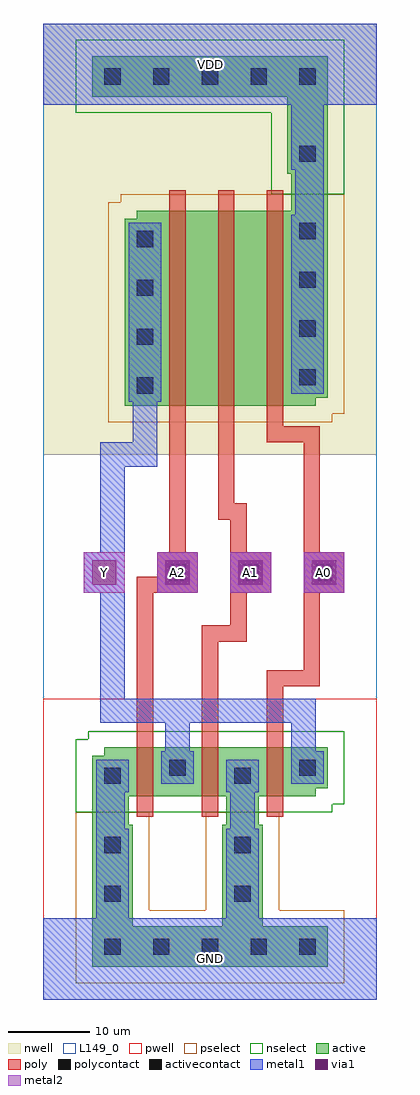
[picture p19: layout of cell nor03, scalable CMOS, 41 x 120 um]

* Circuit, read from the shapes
.subckt nor03 A0 A1 A2 GND VDD Y
M1 Y A2 GND GND nfet w=6u l=2u
M2 GND A1 Y GND nfet w=6u l=2u
M3 Y A0 GND GND nfet w=6u l=2u
M4 n1 A2 Y VDD pfet w=24u l=2u
M5 n2 A1 n1 VDD pfet w=24u l=2u
M6 VDD A0 n2 VDD pfet w=24u l=2u
.ends

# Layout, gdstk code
import gdstk
lib = gdstk.Library(unit=1e-6, precision=1e-09)
def R(c, l, rs):  # rectangles x0, y0, x1, y1
    for r in rs: c.add(gdstk.rectangle(r[:2], r[2:], *l))
def A(c, l, x, y, w, h, nx, ny, dx, dy):  # array of equal rectangles
    R(c, l, [(x+i*dx, y+j*dy, x+i*dx+w, y+j*dy+h) for i in range(nx) for j in range(ny)])
def P(c, l, *ps):  # polygons
    for p in ps: c.add(gdstk.Polygon(p, *l))
pwell = (41, 0)
nwell = (42, 0)
active = (43, 0)
pselect = (44, 0)
nselect = (45, 0)
poly = (46, 0)
polycontact = (47, 0)
activecontact = (48, 0)
metal1 = (49, 0)
via1 = (50, 0)
metal2 = (51, 0)
L149_0 = (149, 0)

via = lib.new_cell('via')
R(via, metal1, [(-2.5,-2.5,2.5,2.5)])
R(via, via1, [(-1.5,-1.5,1.5,1.5)])
R(via, metal2, [(-2.5,-2.5,2.5,2.5)])

nor03 = lib.new_cell('nor03')
R(nor03, pwell, [(0,0,41,37)])
P(nor03, pwell, [(39.5,19),(39.5,20),(41,20),(41,37),(1.5,37),(1.5,36),(0,36),(0,19)])
R(nor03, nwell, [(0,67,41,120)])
P(nor03, nwell, [(4,67),(4,102),(5.5,102),(5.5,103),(41,103),(41,68),(39.5,68),(39.5,67)])
R(nor03, active, [(6,4,35,9), (6,9,11,21.5), (22,9,27,21.5), (6,21.5,10.5,25), (22.5,21.5,26.5,25), (30.5,97,35,101.5), (30,101.5,35,111), (6,111,35,116)])
P(nor03, active, [(11.5,25),(11.5,31),(7.5,31),(7.5,30),(6,30),(6,25)],
  [(33.5,25),(33.5,26),(35,26),(35,31),(7.5,31),(7.5,30),(6,30),(6,25)],
  [(33.5,25),(33.5,26),(35,26),(35,31),(29.5,31),(29.5,25)],
  [(29.5,73),(29.5,97),(35,97),(35,74),(33.5,74),(33.5,73)],
  [(10,73),(10,96),(11.5,96),(11.5,97),(35,97),(35,74),(33.5,74),(33.5,73)],
  [(10,73),(10,96),(11.5,96),(11.5,97),(15.5,97),(15.5,73)])
R(nor03, pselect, [(4,2,37,11), (4,11,13,23), (20,11,29,23)])
P(nor03, pselect, [(8,71),(8,98),(9.5,98),(9.5,99),(37,99),(37,72),(35.5,72),(35.5,71)])
R(nor03, nselect, [(28,99,37,109), (4,109,37,118)])
P(nor03, nselect, [(35.5,23),(35.5,24),(37,24),(37,33),(5.5,33),(5.5,32),(4,32),(4,23)])
A(nor03, poly, 11.5, 22.5, 2, 2.5, 3, 2, 8, 8.5)
A(nor03, poly, 11.5, 25, 2, 6, 3, 1, 8, 0)
A(nor03, poly, 14, 50, 5, 5, 3, 1, 9, 0)
A(nor03, poly, 15.5, 70.5, 2, 2.5, 3, 2, 6, 26.5)
A(nor03, poly, 15.5, 73, 2, 24, 3, 1, 6, 0)
A(nor03, polycontact, 15.5, 51.5, 2, 2, 3, 1, 9, 0)
A(nor03, activecontact, 7.5, 5.5, 2, 2, 5, 2, 6, 107)
A(nor03, activecontact, 11.5, 74.5, 2, 2, 1, 4, 0, 6)
A(nor03, activecontact, 31.5, 75.5, 2, 2, 1, 4, 0, 6)
R(nor03, activecontact, [(7.5,12,9.5,14), (23.5,12,25.5,14), (7.5,18,9.5,20), (23.5,18,25.5,20), (7.5,26.5,9.5,28.5), (23.5,26.5,25.5,28.5), (15.5,27.5,17.5,29.5), (31.5,27.5,33.5,29.5), (31.5,103,33.5,105)])
A(nor03, metal1, 14.5, 50.5, 4, 4, 3, 1, 9, 0)
R(nor03, metal1, [(0,0,41,10), (6.5,10,10.5,21), (22.5,10,26.5,21), (6.5,21,10,25.5), (23,21,26,25.5), (6.5,25.5,10.5,29.5), (22.5,25.5,26.5,29.5), (14.5,26.5,18.5,30.5), (30.5,26.5,34.5,30.5), (10.5,73.5,14.5,95.5), (30.5,74.5,34.5,96.5), (31,96.5,34.5,102), (30.5,102,34.5,110), (0,110,41,120)])
A(nor03, metal2, 5, 50, 5, 5, 4, 1, 9, 0)
R(nor03, L149_0, [(0,0,41,120)])
nor03.add(gdstk.FlexPath([(15,35.5),(8.5,35.5),(8.5,50)], 3, ends="flush", simple_path=True, layer=49, datatype=0))  # metal1
nor03.add(gdstk.FlexPath([(32,30.5),(32,35.5),(16.5,35.5),(16.5,30.5)], 3, ends="flush", simple_path=True, layer=49, datatype=0))  # metal1
nor03.add(gdstk.FlexPath([(8.5,55),(8.5,67),(12.5,67),(12.5,73.5)], 3, ends="flush", simple_path=True, layer=49, datatype=0))  # metal1
nor03.add(gdstk.FlexPath([(16.5,70.5),(16.5,55)], 2, ends="flush", simple_path=True, layer=46, datatype=0))  # poly
nor03.add(gdstk.FlexPath([(12.5,33.5),(12.5,51),(14,51)], 2, ends="flush", simple_path=True, layer=46, datatype=0))  # poly
nor03.add(gdstk.FlexPath([(20.5,33.5),(20.5,45),(24,45),(24,50)], 2, ends="flush", simple_path=True, layer=46, datatype=0))  # poly
nor03.add(gdstk.FlexPath([(27.5,69.5),(33,69.5),(33,55)], 2, ends="flush", simple_path=True, layer=46, datatype=0))  # poly
nor03.add(gdstk.FlexPath([(22.5,70.5),(22.5,60),(24,60),(24,55)], 2, ends="flush", simple_path=True, layer=46, datatype=0))  # poly
nor03.add(gdstk.FlexPath([(28.5,33.5),(28.5,39.5),(33,39.5),(33,50)], 2, ends="flush", simple_path=True, layer=46, datatype=0))  # poly
nor03.add(gdstk.Reference(via, (25.5,52.5)))
nor03.add(gdstk.Reference(via, (16.5,52.5)))
nor03.add(gdstk.Reference(via, (34.5,52.5)))
nor03.add(gdstk.Reference(via, (7.5,52.5)))
nor03.add(gdstk.Label('Y', (7.5,52.5), layer=3, texttype=0))
nor03.add(gdstk.Label('A1', (25.5,52.5), layer=3, texttype=0))
nor03.add(gdstk.Label('A0', (34.5,52.5), layer=3, texttype=0))
nor03.add(gdstk.Label('A2', (16.5,52.5), layer=3, texttype=0))
nor03.add(gdstk.Label('GND', (20.5,5), layer=2, texttype=0))
nor03.add(gdstk.Label('VDD', (20.5,115), layer=2, texttype=0))
nor03.add(gdstk.Label('GND', (20.5,5), layer=2, texttype=0))
nor03.add(gdstk.Label('VDD', (20.5,115), layer=2, texttype=0))
nor03.add(gdstk.Label('Y', (7.5,52.5), layer=3, texttype=0))
nor03.add(gdstk.Label('A1', (25.5,52.5), layer=3, texttype=0))
nor03.add(gdstk.Label('A0', (34.5,52.5), layer=3, texttype=0))
nor03.add(gdstk.Label('A2', (16.5,52.5), layer=3, texttype=0))

lib.write_gds('nor03.gds')
